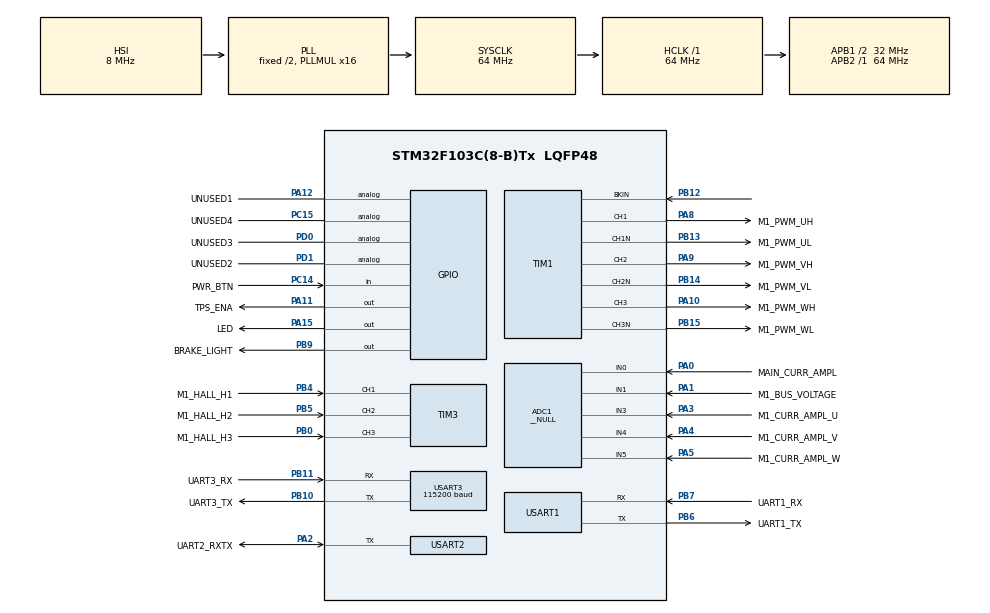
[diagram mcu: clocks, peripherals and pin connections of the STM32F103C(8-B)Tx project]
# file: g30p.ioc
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ADC1.Channel-1\#ChannelInjectedConversion=ADC_CHANNEL_3
ADC1.Channel-1\#ChannelRegularConversion=ADC_CHANNEL_1
ADC1.Channel-2\#ChannelInjectedConversion=ADC_CHANNEL_4
ADC1.Channel-2\#ChannelRegularConversion=ADC_CHANNEL_0
ADC1.Channel-3\#ChannelInjectedConversion=ADC_CHANNEL_5
ADC1.ContinuousConvMode=DISABLE
ADC1.DataAlign=ADC_DATAALIGN_LEFT
ADC1.DiscontinuousConvMode=DISABLE
ADC1.EnableAnalogWatchDog=false
ADC1.EnableInjectedConversion=ENABLE
ADC1.EnableRegularConversion=ENABLE
ADC1.ExternalTrigConv=ADC_SOFTWARE_START
ADC1.ExternalTrigInjecConv=ADC_EXTERNALTRIGINJECCONV_T1_CC4
ADC1.InjNumberOfConversion=3
ADC1.InjectedConvMode=Discontinuous
ADC1.InjectedOffset-1\#ChannelInjectedConversion=0
ADC1.InjectedOffset-2\#ChannelInjectedConversion=0
ADC1.InjectedOffset-3\#ChannelInjectedConversion=0
ADC1.Mode=__NULL
ADC1.NbrOfConversion=2
ADC1.NbrOfConversionFlag=1
ADC1.Rank-1\#ChannelInjectedConversion=1
ADC1.Rank-1\#ChannelRegularConversion=1
ADC1.Rank-2\#ChannelInjectedConversion=2
ADC1.Rank-2\#ChannelRegularConversion=2
ADC1.Rank-3\#ChannelInjectedConversion=3
ADC1.SamplingTime-1\#ChannelInjectedConversion=ADC_SAMPLETIME_1CYCLE_5
ADC1.SamplingTime-1\#ChannelRegularConversion=ADC_SAMPLETIME_1CYCLE_5
ADC1.SamplingTime-2\#ChannelInjectedConversion=ADC_SAMPLETIME_1CYCLE_5
ADC1.SamplingTime-2\#ChannelRegularConversion=ADC_SAMPLETIME_1CYCLE_5
ADC1.SamplingTime-3\#ChannelInjectedConversion=ADC_SAMPLETIME_1CYCLE_5
ADC1.ScanConvMode=ADC_SCAN_ENABLE
ADC1.master=1
ADC2.Channel-1\#ChannelInjectedConversion=ADC_CHANNEL_3
ADC2.Channel-2\#ChannelInjectedConversion=ADC_CHANNEL_4
ADC2.Channel-3\#ChannelInjectedConversion=ADC_CHANNEL_5
ADC2.ContinuousConvMode=DISABLE
ADC2.DataAlign=ADC_DATAALIGN_LEFT
ADC2.DiscontinuousConvMode=DISABLE
ADC2.EnableAnalogWatchDog=false
ADC2.EnableInjectedConversion=ENABLE
ADC2.EnableRegularConversion=DISABLE
ADC2.ExternalTrigInjecConv=ADC_EXTERNALTRIGINJECCONV_T1_CC4
ADC2.InjNumberOfConversion=3
ADC2.InjectedConvMode=Discontinuous
ADC2.InjectedOffset-1\#ChannelInjectedConversion=0
ADC2.InjectedOffset-2\#ChannelInjectedConversion=0
ADC2.InjectedOffset-3\#ChannelInjectedConversion=0
ADC2.Mode=__NULL
ADC2.Rank-1\#ChannelInjectedConversion=1
ADC2.Rank-2\#ChannelInjectedConversion=2
ADC2.Rank-3\#ChannelInjectedConversion=3
ADC2.SamplingTime-1\#ChannelInjectedConversion=ADC_SAMPLETIME_1CYCLE_5
ADC2.SamplingTime-2\#ChannelInjectedConversion=ADC_SAMPLETIME_1CYCLE_5
ADC2.SamplingTime-3\#ChannelInjectedConversion=ADC_SAMPLETIME_1CYCLE_5
ADC2.ScanConvMode=ADC_SCAN_ENABLE
Dma.ADC1.0.Direction=DMA_PERIPH_TO_MEMORY
Dma.ADC1.0.Instance=DMA1_Channel1
Dma.ADC1.0.MemDataAlignment=DMA_MDATAALIGN_HALFWORD
Dma.ADC1.0.MemInc=DMA_MINC_DISABLE
Dma.ADC1.0.Mode=DMA_CIRCULAR
Dma.ADC1.0.PeriphDataAlignment=DMA_PDATAALIGN_HALFWORD
Dma.ADC1.0.PeriphInc=DMA_PINC_DISABLE
Dma.ADC1.0.Priority=DMA_PRIORITY_LOW
Dma.Request0=ADC1
Dma.Request1=USART1_RX
Dma.Request2=USART1_TX
Dma.Request3=USART3_TX
Dma.Request4=USART3_RX
Dma.USART1_RX.1.Direction=DMA_PERIPH_TO_MEMORY
Dma.USART1_RX.1.Instance=DMA1_Channel5
Dma.USART1_RX.1.MemDataAlignment=DMA_MDATAALIGN_BYTE
Dma.USART1_RX.1.MemInc=DMA_MINC_ENABLE
Dma.USART1_RX.1.Mode=DMA_CIRCULAR
Dma.USART1_RX.1.PeriphDataAlignment=DMA_PDATAALIGN_BYTE
Dma.USART1_RX.1.PeriphInc=DMA_PINC_DISABLE
Dma.USART1_RX.1.Priority=DMA_PRIORITY_LOW
Dma.USART1_TX.2.Direction=DMA_MEMORY_TO_PERIPH
Dma.USART1_TX.2.Instance=DMA1_Channel4
Dma.USART1_TX.2.MemDataAlignment=DMA_MDATAALIGN_BYTE
Dma.USART1_TX.2.MemInc=DMA_MINC_ENABLE
Dma.USART1_TX.2.Mode=DMA_NORMAL
Dma.USART1_TX.2.PeriphDataAlignment=DMA_PDATAALIGN_BYTE
Dma.USART1_TX.2.PeriphInc=DMA_PINC_DISABLE
Dma.USART1_TX.2.Priority=DMA_PRIORITY_LOW
Dma.USART3_RX.4.Direction=DMA_PERIPH_TO_MEMORY
Dma.USART3_RX.4.Instance=DMA1_Channel3
Dma.USART3_RX.4.MemDataAlignment=DMA_MDATAALIGN_BYTE
Dma.USART3_RX.4.MemInc=DMA_MINC_ENABLE
Dma.USART3_RX.4.Mode=DMA_CIRCULAR
Dma.USART3_RX.4.PeriphDataAlignment=DMA_PDATAALIGN_BYTE
Dma.USART3_RX.4.PeriphInc=DMA_PINC_DISABLE
Dma.USART3_RX.4.Priority=DMA_PRIORITY_HIGH
Dma.USART3_TX.3.Direction=DMA_MEMORY_TO_PERIPH
Dma.USART3_TX.3.Instance=DMA1_Channel2
Dma.USART3_TX.3.MemDataAlignment=DMA_MDATAALIGN_BYTE
Dma.USART3_TX.3.MemInc=DMA_MINC_ENABLE
Dma.USART3_TX.3.Mode=DMA_NORMAL
Dma.USART3_TX.3.PeriphDataAlignment=DMA_PDATAALIGN_BYTE
Dma.USART3_TX.3.PeriphInc=DMA_PINC_DISABLE
Dma.USART3_TX.3.Priority=DMA_PRIORITY_HIGH
Mcu.Family=STM32F1
Mcu.Name=STM32F103C(8-B)Tx
Mcu.Package=LQFP48
NVIC.ADC1_2_IRQn=true\:2\:0\:true\:true\:false\:1\:true\:true
NVIC.DMA1_Channel1_IRQn=true\:2\:0\:true\:true\:false\:4\:true\:true
NVIC.DMA1_Channel2_IRQn=true\:0\:0\:false\:false\:true\:false\:true
NVIC.DMA1_Channel3_IRQn=true\:0\:0\:false\:false\:true\:false\:true
NVIC.DMA1_Channel4_IRQn=true\:2\:0\:true\:false\:true\:false\:true
NVIC.DMA1_Channel5_IRQn=true\:2\:0\:true\:false\:true\:false\:true
NVIC.PriorityGroup=NVIC_PRIORITYGROUP_4
NVIC.TIM1_BRK_IRQn=true\:4\:0\:true\:true\:false\:3\:true\:true
NVIC.TIM1_UP_IRQn=true\:2\:0\:true\:true\:false\:2\:true\:true
NVIC.TIM3_IRQn=true\:3\:0\:true\:true\:false\:5\:true\:true
NVIC.TIM4_IRQn=true\:15\:0\:false\:false\:true\:false\:true
NVIC.TimeBase=TIM4_IRQn
NVIC.TimeBaseIP=TIM4
NVIC.USART2_IRQn=true\:15\:0\:true\:false\:true\:true\:true
PA0-WKUP.GPIO_Label=MAIN_CURR_AMPL
PA0-WKUP.Signal=ADCx_IN0
PA1.GPIO_Label=M1_BUS_VOLTAGE
PA1.Signal=ADCx_IN1
PA10.GPIO_Label=M1_PWM_WH
PA10.GPIO_PuPd=GPIO_PULLDOWN
PA10.GPIO_Speed=GPIO_SPEED_FREQ_HIGH
PA10.Signal=S_TIM1_CH3
PA11.GPIO_Label=TPS_ENA
PA11.PinState=GPIO_PIN_SET
PA11.Signal=GPIO_Output
PA12.GPIO_Label=UNUSED1
PA12.Signal=GPIO_Analog
PA13.Mode=Serial_Wire
PA13.Signal=SYS_JTMS-SWDIO
PA14.Mode=Serial_Wire
PA14.Signal=SYS_JTCK-SWCLK
PA15.GPIO_Label=LED
PA15.Signal=GPIO_Output
PA2.GPIO_Label=UART2_RXTX
PA2.GPIO_Speed=GPIO_SPEED_FREQ_HIGH
PA2.Mode=Half_duplex(single_wire_mode)
PA2.Signal=USART2_TX
PA3.GPIO_Label=M1_CURR_AMPL_U
PA3.Signal=SharedAnalog_PA3
PA4.GPIO_Label=M1_CURR_AMPL_V
PA4.Signal=SharedAnalog_PA4
PA5.GPIO_Label=M1_CURR_AMPL_W
PA5.Signal=SharedAnalog_PA5
PA8.GPIO_Label=M1_PWM_UH
PA8.GPIO_PuPd=GPIO_PULLDOWN
PA8.GPIO_Speed=GPIO_SPEED_FREQ_HIGH
PA8.Signal=S_TIM1_CH1
PA9.GPIO_Label=M1_PWM_VH
PA9.GPIO_PuPd=GPIO_PULLDOWN
PA9.GPIO_Speed=GPIO_SPEED_FREQ_HIGH
PA9.Signal=S_TIM1_CH2
PB0.GPIO_Label=M1_HALL_H3
PB0.GPIO_Speed=GPIO_SPEED_FREQ_HIGH
PB0.Signal=S_TIM3_CH3
PB10.GPIO_Label=UART3_TX
PB10.GPIO_Mode=GPIO_MODE_AF_PP
PB10.GPIO_PuPd=GPIO_NOPULL
PB10.GPIO_Speed=GPIO_SPEED_FREQ_LOW
PB10.Mode=Asynchronous
PB10.Signal=USART3_TX
PB11.GPIO_Label=UART3_RX
PB11.GPIO_Mode=GPIO_MODE_INPUT
PB11.GPIO_PuPd=GPIO_NOPULL
PB11.GPIO_Speed=GPIO_SPEED_FREQ_LOW
PB11.Mode=Asynchronous
PB11.Signal=USART3_RX
PB12.Mode=Activate-Break-Input
PB12.Signal=TIM1_BKIN
PB13.GPIO_Label=M1_PWM_UL
PB13.GPIO_PuPd=GPIO_PULLDOWN
PB13.GPIO_Speed=GPIO_SPEED_FREQ_HIGH
PB13.Mode=PWM Generation1 CH1 CH1N
PB13.Signal=TIM1_CH1N
PB14.GPIO_Label=M1_PWM_VL
PB14.GPIO_PuPd=GPIO_PULLDOWN
PB14.GPIO_Speed=GPIO_SPEED_FREQ_HIGH
PB14.Mode=PWM Generation2 CH2 CH2N
PB14.Signal=TIM1_CH2N
PB15.GPIO_Label=M1_PWM_WL
PB15.GPIO_PuPd=GPIO_PULLDOWN
PB15.GPIO_Speed=GPIO_SPEED_FREQ_HIGH
PB15.Mode=PWM Generation3 CH3 CH3N
PB15.Signal=TIM1_CH3N
PB2.Signal=EVENTOUT
PB4.GPIO_Label=M1_HALL_H1
PB4.GPIO_Speed=GPIO_SPEED_FREQ_HIGH
PB4.Signal=S_TIM3_CH1
PB5.GPIO_Label=M1_HALL_H2
PB5.GPIO_Speed=GPIO_SPEED_FREQ_HIGH
PB5.Signal=S_TIM3_CH2
PB6.GPIO_Label=UART1_TX
PB6.GPIO_Speed=GPIO_SPEED_FREQ_LOW
PB6.Mode=Asynchronous
PB6.Signal=USART1_TX
PB7.GPIO_Label=UART1_RX
PB7.Mode=Asynchronous
PB7.Signal=USART1_RX
PB9.GPIO_Label=BRAKE_LIGHT
PB9.GPIO_ModeDefaultOutputPP=GPIO_MODE_OUTPUT_OD
PB9.GPIO_PuPd=GPIO_PULLDOWN
PB9.Signal=GPIO_Output
PC14-OSC32_IN.GPIO_Label=PWR_BTN
PC14-OSC32_IN.Signal=GPIO_Input
PC15-OSC32_OUT.GPIO_Label=UNUSED4
PC15-OSC32_OUT.Signal=GPIO_Analog
PD0-OSC_IN.GPIO_Label=UNUSED3
PD0-OSC_IN.Signal=GPIO_Analog
PD1-OSC_OUT.GPIO_Label=UNUSED2
PD1-OSC_OUT.Signal=GPIO_Analog
ProjectManager.HeapSize=0x200
ProjectManager.StackSize=0x400
ProjectManager.TargetToolchain=STM32CubeIDE
RCC.ADCPresc=RCC_ADCPCLK2_DIV6
RCC.AHBFreq_Value=64000000
RCC.APB1CLKDivider=RCC_HCLK_DIV2
RCC.APB1Freq_Value=32000000
RCC.APB1TimFreq_Value=64000000
RCC.APB2Freq_Value=64000000
RCC.APB2TimFreq_Value=64000000
RCC.EnbaleCSS=true
RCC.HCLKFreq_Value=64000000
RCC.PLLMUL=RCC_PLL_MUL16
RCC.RTCClockSelection=RCC_RTCCLKSOURCE_LSI
RCC.SYSCLKFreq_VALUE=64000000
RCC.SYSCLKSource=RCC_SYSCLKSOURCE_PLLCLK
RCC.USBFreq_Value=64000000
SH.ADCx_IN0.0=ADC1_IN0,IN0
SH.ADCx_IN1.0=ADC1_IN1,IN1
SH.S_TIM1_CH1.0=TIM1_CH1,PWM Generation1 CH1 CH1N
SH.S_TIM1_CH2.0=TIM1_CH2,PWM Generation2 CH2 CH2N
SH.S_TIM1_CH3.0=TIM1_CH3,PWM Generation3 CH3 CH3N
SH.S_TIM3_CH1.0=TIM3_CH1,Xored_Inputs_Hall_Sensor_Interface
SH.S_TIM3_CH2.0=TIM3_CH2,Xored_Inputs_Hall_Sensor_Interface
SH.S_TIM3_CH3.0=TIM3_CH3,Xored_Inputs_Hall_Sensor_Interface
SH.SharedAnalog_PA3.0=ADC1_IN3,IN3
SH.SharedAnalog_PA3.1=ADC2_IN3,IN3
SH.SharedAnalog_PA4.0=ADC1_IN4,IN4
SH.SharedAnalog_PA4.1=ADC2_IN4,IN4
SH.SharedAnalog_PA5.0=ADC1_IN5,IN5
SH.SharedAnalog_PA5.1=ADC2_IN5,IN5
TIM1.AutomaticOutput=TIM_AUTOMATICOUTPUT_DISABLE
TIM1.BreakPolarity=TIM_BREAKPOLARITY_LOW
TIM1.BreakState=TIM_BREAK_DISABLE
TIM1.Channel-PWM\ Generation1\ CH1\ CH1N=TIM_CHANNEL_1
TIM1.Channel-PWM\ Generation2\ CH2\ CH2N=TIM_CHANNEL_2
TIM1.Channel-PWM\ Generation3\ CH3\ CH3N=TIM_CHANNEL_3
TIM1.Channel-PWM\ Generation4\ No\ Output=TIM_CHANNEL_4
TIM1.ClockDivision=TIM_CLOCKDIVISION_DIV2
TIM1.CounterMode=TIM_COUNTERMODE_CENTERALIGNED1
TIM1.DeadTime=((DEAD_TIME_COUNTS) / 2)
TIM1.LockLevel=TIM_LOCKLEVEL_1
TIM1.OCIdleState_1=TIM_OCIDLESTATE_RESET
TIM1.OCIdleState_2=TIM_OCIDLESTATE_RESET
TIM1.OCIdleState_3=TIM_OCIDLESTATE_RESET
TIM1.OCMode_PWM-PWM\ Generation4\ No\ Output=TIM_OCMODE_PWM2
TIM1.OCNIdleState_1=TIM_OCNIDLESTATE_RESET
TIM1.OCNIdleState_2=TIM_OCNIDLESTATE_RESET
TIM1.OCNIdleState_3=TIM_OCNIDLESTATE_RESET
TIM1.OCNPolarity_1=TIM_OCNPOLARITY_HIGH
TIM1.OCNPolarity_2=TIM_OCNPOLARITY_HIGH
TIM1.OCNPolarity_3=TIM_OCNPOLARITY_HIGH
TIM1.OCPolarity_1=TIM_OCPOLARITY_HIGH
TIM1.OCPolarity_2=TIM_OCPOLARITY_HIGH
TIM1.OCPolarity_3=TIM_OCPOLARITY_HIGH
TIM1.OffStateIDLEMode=TIM_OSSI_ENABLE
TIM1.OffStateRunMode=TIM_OSSR_ENABLE
TIM1.Period=((PWM_PERIOD_CYCLES) / 2)
TIM1.Prescaler=((TIM_CLOCK_DIVIDER) - 1)
TIM1.Pulse-PWM\ Generation4\ No\ Output=(((PWM_PERIOD_CYCLES) / 2) - (HTMIN))
TIM1.RepetitionCounter=(REP_COUNTER)
TIM1.TIM_MasterOutputTrigger=TIM_TRGO_RESET
TIM1.TIM_MasterSlaveMode=TIM_MASTERSLAVEMODE_DISABLE
TIM3.IC1Filter=M1_HALL_IC_FILTER
TIM3.Period=M1_HALL_TIM_PERIOD
USART1.VirtualMode=VM_ASYNC
USART2.VirtualMode=VM_ASYNC
USART3.BaudRate=115200
USART3.VirtualMode=VM_ASYNC
USART3.VirtualMode-Asynchronous=VM_ASYNC
USART3.WordLength=WORDLENGTH_8B
VP_CRC_VS_CRC.Mode=CRC_Activate
VP_SYS_VS_tim4.Mode=TIM4
VP_TIM1_VS_ClockSourceITR.Mode=TriggerSource_ITR1
VP_TIM1_VS_ControllerModeTrigger.Mode=Trigger Mode
VP_TIM1_VS_no_output4.Mode=PWM Generation4 No Output
VP_TIM3_VS_ClockSourceINT.Mode=Internal
board=custom

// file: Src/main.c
/* USER CODE BEGIN Header */
/**
  ******************************************************************************
  * @file           : main.c
  * @brief          : Main program body
  ******************************************************************************
  * @attention
  *
  * <h2><center>&copy; Copyright (c) 2021 STMicroelectronics.
  * All rights reserved.</center></h2>
  *
  * This software component is licensed by ST under Ultimate Liberty license
  * SLA0044, the "License"; You may not use this file except in compliance with
  * the License. You may obtain a copy of the License at:
  *                             www.st.com/SLA0044
  *
  ******************************************************************************
  */
/* USER CODE END Header */
#include "main.h"

/* USER CODE BEGIN Includes */

#include "FreeRTOS.h"
#include "task.h"
#include "task_init.h"
#include "motorcontrol.h"
#include "conf_general.h"
#include "app.h"

/* USER CODE END Includes */

ADC_HandleTypeDef hadc1;
ADC_HandleTypeDef hadc2;
DMA_HandleTypeDef hdma_adc1;

CRC_HandleTypeDef hcrc;

TIM_HandleTypeDef htim1;
TIM_HandleTypeDef htim3;

UART_HandleTypeDef huart1;
UART_HandleTypeDef huart2;
UART_HandleTypeDef huart3;
DMA_HandleTypeDef hdma_usart1_rx;
DMA_HandleTypeDef hdma_usart1_tx;
DMA_HandleTypeDef hdma_usart3_tx;
DMA_HandleTypeDef hdma_usart3_rx;

void SystemClock_Config(void);
static void MX_GPIO_Init(void);
static void MX_DMA_Init(void);
static void MX_ADC1_Init(void);
static void MX_ADC2_Init(void);
static void MX_TIM1_Init(void);
static void MX_TIM3_Init(void);
static void MX_USART3_UART_Init(void);
static void MX_USART1_UART_Init(void);
static void MX_USART2_UART_Init(void);
static void MX_CRC_Init(void);
static void MX_NVIC_Init(void);
/* USER CODE BEGIN PFP */
void startMediumFrequencyTask(void *argument);
extern void StartSafetyTask(void *argument);
/* USER CODE END PFP */

int main(void)
{

  /* MCU Configuration--------------------------------------------------------*/

  /* Reset of all peripherals, Initializes the Flash interface and the Systick. */
  HAL_Init();

  /* Configure the system clock */
  SystemClock_Config();

  /* Initialize all configured peripherals */
  MX_GPIO_Init();
  MX_DMA_Init();
  MX_ADC1_Init();
  MX_ADC2_Init();
  MX_TIM1_Init();
  MX_TIM3_Init();
  MX_USART3_UART_Init();
  MX_USART1_UART_Init();
  MX_USART2_UART_Init();
  MX_CRC_Init();

  /* Initialize interrupts */
  MX_NVIC_Init();
  /* USER CODE BEGIN 2 */

  HAL_ADCEx_Calibration_Start(&hadc1);
  HAL_ADCEx_Calibration_Start(&hadc2);

  MX_MotorControl_Init();
  HAL_Delay(100);

  conf_general_init();
  //osKernelInitialize();

  /* USER CODE BEGIN RTOS_MUTEX */
  /* USER CODE END RTOS_MUTEX */

  /* USER CODE BEGIN RTOS_SEMAPHORES */
  /* add semaphores, ... */
  /* USER CODE END RTOS_SEMAPHORES */

  /* USER CODE BEGIN RTOS_TIMERS */
  /* start timers, add new ones, ... */
  /* USER CODE END RTOS_TIMERS */

  /* USER CODE BEGIN RTOS_QUEUES */
  /* add queues, ... */
  /* USER CODE END RTOS_QUEUES */

  /* Create the thread(s) */
  /* USER CODE BEGIN RTOS_THREADS */
  /* add threads, ... */
  TaskHandle_t mediumFrequencyHandle;

  TaskHandle_t safetyHandle;

  xTaskCreate(startMediumFrequencyTask, "medTSK", 128, NULL, PRIO_NORMAL, &mediumFrequencyHandle);
  xTaskCreate(StartSafetyTask, "safety", 128, NULL, PRIO_HIGHER, &safetyHandle);

  task_init(); //bring up user tasks

  /* USER CODE END RTOS_THREADS */

  /* USER CODE BEGIN RTOS_EVENTS */
  /* add events, ... */
  /* USER CODE END RTOS_EVENTS */

  /* Start scheduler */
  vTaskStartScheduler();

  /* We should never ge*/

  /* USER CODE END 2 */

  /* Infinite loop */
  /* USER CODE BEGIN WHILE */
  vTaskSwitchContext();
  while (1)
  {
    /* USER CODE END WHILE */

  }
}

void SystemClock_Config(void)
{
  RCC_OscInitTypeDef RCC_OscInitStruct = {0};
  RCC_ClkInitTypeDef RCC_ClkInitStruct = {0};
  RCC_PeriphCLKInitTypeDef PeriphClkInit = {0};

  /** Initializes the RCC Oscillators according to the specified parameters
  * in the RCC_OscInitTypeDef structure.
  */
  RCC_OscInitStruct.OscillatorType = RCC_OSCILLATORTYPE_HSI;
  RCC_OscInitStruct.HSIState = RCC_HSI_ON;
  RCC_OscInitStruct.HSICalibrationValue = RCC_HSICALIBRATION_DEFAULT;
  RCC_OscInitStruct.PLL.PLLState = RCC_PLL_ON;
  RCC_OscInitStruct.PLL.PLLSource = RCC_PLLSOURCE_HSI_DIV2;
  RCC_OscInitStruct.PLL.PLLMUL = RCC_PLL_MUL16;
  if (HAL_RCC_OscConfig(&RCC_OscInitStruct) != HAL_OK)
  {
    Error_Handler();
  }
  /** Initializes the CPU, AHB and APB buses clocks
  */
  RCC_ClkInitStruct.ClockType = RCC_CLOCKTYPE_HCLK|RCC_CLOCKTYPE_SYSCLK
                              |RCC_CLOCKTYPE_PCLK1|RCC_CLOCKTYPE_PCLK2;
  RCC_ClkInitStruct.SYSCLKSource = RCC_SYSCLKSOURCE_PLLCLK;
  RCC_ClkInitStruct.AHBCLKDivider = RCC_SYSCLK_DIV1;
  RCC_ClkInitStruct.APB1CLKDivider = RCC_HCLK_DIV2;
  RCC_ClkInitStruct.APB2CLKDivider = RCC_HCLK_DIV1;

  if (HAL_RCC_ClockConfig(&RCC_ClkInitStruct, FLASH_LATENCY_2) != HAL_OK)
  {
    Error_Handler();
  }
  PeriphClkInit.PeriphClockSelection = RCC_PERIPHCLK_ADC;
  PeriphClkInit.AdcClockSelection = RCC_ADCPCLK2_DIV6;
  if (HAL_RCCEx_PeriphCLKConfig(&PeriphClkInit) != HAL_OK)
  {
    Error_Handler();
  }
  /** Enables the Clock Security System
  */
  HAL_RCC_EnableCSS();
}

/**
  * @brief NVIC Configuration.
  * @retval None
  */
static void MX_NVIC_Init(void)
{
  /* ADC1_2_IRQn interrupt configuration */
  HAL_NVIC_SetPriority(ADC1_2_IRQn, 2, 0);
  HAL_NVIC_EnableIRQ(ADC1_2_IRQn);
  /* TIM1_UP_IRQn interrupt configuration */
  HAL_NVIC_SetPriority(TIM1_UP_IRQn, 2, 0);
  HAL_NVIC_EnableIRQ(TIM1_UP_IRQn);
  /* TIM1_BRK_IRQn interrupt configuration */
  HAL_NVIC_SetPriority(TIM1_BRK_IRQn, 4, 0);
  HAL_NVIC_EnableIRQ(TIM1_BRK_IRQn);
  /* DMA1_Channel1_IRQn interrupt configuration */
  HAL_NVIC_SetPriority(DMA1_Channel1_IRQn, 2, 0);
  HAL_NVIC_EnableIRQ(DMA1_Channel1_IRQn);
  /* TIM3_IRQn interrupt configuration */
  HAL_NVIC_SetPriority(TIM3_IRQn, 3, 0);
  HAL_NVIC_EnableIRQ(TIM3_IRQn);
}

static void MX_ADC1_Init(void)
{

  ADC_InjectionConfTypeDef sConfigInjected = {0};
  ADC_ChannelConfTypeDef sConfig = {0};

  /** Common config
  */
  hadc1.Instance = ADC1;
  hadc1.Init.ScanConvMode = ADC_SCAN_ENABLE;
  hadc1.Init.ContinuousConvMode = DISABLE;
  hadc1.Init.DiscontinuousConvMode = DISABLE;
  hadc1.Init.ExternalTrigConv = ADC_SOFTWARE_START;
  hadc1.Init.DataAlign = ADC_DATAALIGN_LEFT;
  hadc1.Init.NbrOfConversion = 2;
  if (HAL_ADC_Init(&hadc1) != HAL_OK)
  {
    Error_Handler();
  }
  /** Configure Injected Channel
  */
  sConfigInjected.InjectedChannel = ADC_CHANNEL_3;
  sConfigInjected.InjectedRank = ADC_INJECTED_RANK_1;
  sConfigInjected.InjectedNbrOfConversion = 3;
  sConfigInjected.InjectedSamplingTime = ADC_SAMPLETIME_1CYCLE_5;
  sConfigInjected.ExternalTrigInjecConv = ADC_EXTERNALTRIGINJECCONV_T1_CC4;
  sConfigInjected.AutoInjectedConv = DISABLE;
  sConfigInjected.InjectedDiscontinuousConvMode = ENABLE;
  sConfigInjected.InjectedOffset = 0;
  if (HAL_ADCEx_InjectedConfigChannel(&hadc1, &sConfigInjected) != HAL_OK)
  {
    Error_Handler();
  }
  /** Configure Injected Channel
  */
  sConfigInjected.InjectedChannel = ADC_CHANNEL_4;
  sConfigInjected.InjectedRank = ADC_INJECTED_RANK_2;
  if (HAL_ADCEx_InjectedConfigChannel(&hadc1, &sConfigInjected) != HAL_OK)
  {
    Error_Handler();
  }
  /** Configure Injected Channel
  */
  sConfigInjected.InjectedChannel = ADC_CHANNEL_5;
  sConfigInjected.InjectedRank = ADC_INJECTED_RANK_3;
  if (HAL_ADCEx_InjectedConfigChannel(&hadc1, &sConfigInjected) != HAL_OK)
  {
    Error_Handler();
  }
  /** Configure Regular Channel
  */
  sConfig.Channel = ADC_CHANNEL_1;
  sConfig.Rank = ADC_REGULAR_RANK_1;
  sConfig.SamplingTime = ADC_SAMPLETIME_1CYCLE_5;
  if (HAL_ADC_ConfigChannel(&hadc1, &sConfig) != HAL_OK)
  {
    Error_Handler();
  }
  /** Configure Regular Channel
  */
  sConfig.Channel = ADC_CHANNEL_0;
  sConfig.Rank = ADC_REGULAR_RANK_2;
  if (HAL_ADC_ConfigChannel(&hadc1, &sConfig) != HAL_OK)
  {
    Error_Handler();
  }

}

static void MX_ADC2_Init(void)
{

  ADC_InjectionConfTypeDef sConfigInjected = {0};

  /** Common config
  */
  hadc2.Instance = ADC2;
  hadc2.Init.ScanConvMode = ADC_SCAN_ENABLE;
  hadc2.Init.ContinuousConvMode = DISABLE;
  hadc2.Init.DiscontinuousConvMode = DISABLE;
  hadc2.Init.ExternalTrigConv = ADC_SOFTWARE_START;
  hadc2.Init.DataAlign = ADC_DATAALIGN_LEFT;
  hadc2.Init.NbrOfConversion = 1;
  if (HAL_ADC_Init(&hadc2) != HAL_OK)
  {
    Error_Handler();
  }
  /** Configure Injected Channel
  */
  sConfigInjected.InjectedChannel = ADC_CHANNEL_3;
  sConfigInjected.InjectedRank = 1;
  sConfigInjected.InjectedNbrOfConversion = 3;
  sConfigInjected.InjectedSamplingTime = ADC_SAMPLETIME_1CYCLE_5;
  sConfigInjected.ExternalTrigInjecConv = ADC_EXTERNALTRIGINJECCONV_T1_CC4;
  sConfigInjected.AutoInjectedConv = DISABLE;
  sConfigInjected.InjectedDiscontinuousConvMode = ENABLE;
  sConfigInjected.InjectedOffset = 0;
  if (HAL_ADCEx_InjectedConfigChannel(&hadc2, &sConfigInjected) != HAL_OK)
  {
    Error_Handler();
  }
  /** Configure Injected Channel
  */
  sConfigInjected.InjectedChannel = ADC_CHANNEL_4;
  sConfigInjected.InjectedRank = 2;
  if (HAL_ADCEx_InjectedConfigChannel(&hadc2, &sConfigInjected) != HAL_OK)
  {
    Error_Handler();
  }
  /** Configure Injected Channel
  */
  sConfigInjected.InjectedChannel = ADC_CHANNEL_5;
  sConfigInjected.InjectedRank = 3;
  if (HAL_ADCEx_InjectedConfigChannel(&hadc2, &sConfigInjected) != HAL_OK)
  {
    Error_Handler();
  }

}

static void MX_CRC_Init(void)
{

  hcrc.Instance = CRC;
  if (HAL_CRC_Init(&hcrc) != HAL_OK)
  {
    Error_Handler();
  }

}

static void MX_TIM1_Init(void)
{

  TIM_SlaveConfigTypeDef sSlaveConfig = {0};
  TIM_MasterConfigTypeDef sMasterConfig = {0};
  TIM_OC_InitTypeDef sConfigOC = {0};
  TIM_BreakDeadTimeConfigTypeDef sBreakDeadTimeConfig = {0};

  htim1.Instance = TIM1;
  htim1.Init.Prescaler = ((TIM_CLOCK_DIVIDER) - 1);
  htim1.Init.CounterMode = TIM_COUNTERMODE_CENTERALIGNED1;
  htim1.Init.Period = ((PWM_PERIOD_CYCLES) / 2);
  htim1.Init.ClockDivision = TIM_CLOCKDIVISION_DIV2;
  htim1.Init.RepetitionCounter = (REP_COUNTER);
  htim1.Init.AutoReloadPreload = TIM_AUTORELOAD_PRELOAD_DISABLE;
  if (HAL_TIM_Base_Init(&htim1) != HAL_OK)
  {
    Error_Handler();
  }
  if (HAL_TIM_PWM_Init(&htim1) != HAL_OK)
  {
    Error_Handler();
  }
  sSlaveConfig.SlaveMode = TIM_SLAVEMODE_TRIGGER;
  sSlaveConfig.InputTrigger = TIM_TS_ITR1;
  if (HAL_TIM_SlaveConfigSynchro(&htim1, &sSlaveConfig) != HAL_OK)
  {
    Error_Handler();
  }
  sMasterConfig.MasterOutputTrigger = TIM_TRGO_RESET;
  sMasterConfig.MasterSlaveMode = TIM_MASTERSLAVEMODE_DISABLE;
  if (HAL_TIMEx_MasterConfigSynchronization(&htim1, &sMasterConfig) != HAL_OK)
  {
    Error_Handler();
  }
  sConfigOC.OCMode = TIM_OCMODE_PWM1;
  sConfigOC.Pulse = 0;
  sConfigOC.OCPolarity = TIM_OCPOLARITY_HIGH;
  sConfigOC.OCNPolarity = TIM_OCNPOLARITY_HIGH;
  sConfigOC.OCFastMode = TIM_OCFAST_DISABLE;
  sConfigOC.OCIdleState = TIM_OCIDLESTATE_RESET;
  sConfigOC.OCNIdleState = TIM_OCNIDLESTATE_RESET;
  if (HAL_TIM_PWM_ConfigChannel(&htim1, &sConfigOC, TIM_CHANNEL_1) != HAL_OK)
  {
    Error_Handler();
  }
  if (HAL_TIM_PWM_ConfigChannel(&htim1, &sConfigOC, TIM_CHANNEL_2) != HAL_OK)
  {
    Error_Handler();
  }
  if (HAL_TIM_PWM_ConfigChannel(&htim1, &sConfigOC, TIM_CHANNEL_3) != HAL_OK)
  {
    Error_Handler();
  }
  sConfigOC.OCMode = TIM_OCMODE_PWM2;
  sConfigOC.Pulse = (((PWM_PERIOD_CYCLES) / 2) - (HTMIN));
  if (HAL_TIM_PWM_ConfigChannel(&htim1, &sConfigOC, TIM_CHANNEL_4) != HAL_OK)
  {
    Error_Handler();
  }
  sBreakDeadTimeConfig.OffStateRunMode = TIM_OSSR_ENABLE;
  sBreakDeadTimeConfig.OffStateIDLEMode = TIM_OSSI_ENABLE;
  sBreakDeadTimeConfig.LockLevel = TIM_LOCKLEVEL_1;
  sBreakDeadTimeConfig.DeadTime = ((DEAD_TIME_COUNTS) / 2);
  sBreakDeadTimeConfig.BreakState = TIM_BREAK_DISABLE;
  sBreakDeadTimeConfig.BreakPolarity = TIM_BREAKPOLARITY_LOW;
  sBreakDeadTimeConfig.AutomaticOutput = TIM_AUTOMATICOUTPUT_DISABLE;
  if (HAL_TIMEx_ConfigBreakDeadTime(&htim1, &sBreakDeadTimeConfig) != HAL_OK)
  {
    Error_Handler();
  }
  HAL_TIM_MspPostInit(&htim1);

}

static void MX_TIM3_Init(void)
{

  TIM_ClockConfigTypeDef sClockSourceConfig = {0};
  TIM_HallSensor_InitTypeDef sConfig = {0};
  TIM_MasterConfigTypeDef sMasterConfig = {0};

  htim3.Instance = TIM3;
  htim3.Init.Prescaler = 0;
  htim3.Init.CounterMode = TIM_COUNTERMODE_UP;
  htim3.Init.Period = M1_HALL_TIM_PERIOD;
  htim3.Init.ClockDivision = TIM_CLOCKDIVISION_DIV1;
  htim3.Init.AutoReloadPreload = TIM_AUTORELOAD_PRELOAD_DISABLE;
  if (HAL_TIM_Base_Init(&htim3) != HAL_OK)
  {
    Error_Handler();
  }
  sClockSourceConfig.ClockSource = TIM_CLOCKSOURCE_INTERNAL;
  if (HAL_TIM_ConfigClockSource(&htim3, &sClockSourceConfig) != HAL_OK)
  {
    Error_Handler();
  }
  sConfig.IC1Polarity = TIM_ICPOLARITY_RISING;
  sConfig.IC1Prescaler = TIM_ICPSC_DIV1;
  sConfig.IC1Filter = M1_HALL_IC_FILTER;
  sConfig.Commutation_Delay = 0;
  if (HAL_TIMEx_HallSensor_Init(&htim3, &sConfig) != HAL_OK)
  {
    Error_Handler();
  }
  sMasterConfig.MasterOutputTrigger = TIM_TRGO_OC2REF;
  sMasterConfig.MasterSlaveMode = TIM_MASTERSLAVEMODE_DISABLE;
  if (HAL_TIMEx_MasterConfigSynchronization(&htim3, &sMasterConfig) != HAL_OK)
  {
    Error_Handler();
  }

}

static void MX_USART1_UART_Init(void)
{

  huart1.Instance = USART1;
  huart1.Init.BaudRate = 115200;
  huart1.Init.WordLength = UART_WORDLENGTH_8B;
  huart1.Init.StopBits = UART_STOPBITS_1;
  huart1.Init.Parity = UART_PARITY_NONE;
  huart1.Init.Mode = UART_MODE_TX_RX;
  huart1.Init.HwFlowCtl = UART_HWCONTROL_NONE;
  huart1.Init.OverSampling = UART_OVERSAMPLING_16;
  if (HAL_UART_Init(&huart1) != HAL_OK)
  {
    Error_Handler();
  }

}

static void MX_USART2_UART_Init(void)
{

  huart2.Instance = USART2;
  huart2.Init.BaudRate = 115200;
  huart2.Init.WordLength = UART_WORDLENGTH_8B;
  huart2.Init.StopBits = UART_STOPBITS_1;
  huart2.Init.Parity = UART_PARITY_NONE;
  huart2.Init.Mode = UART_MODE_TX_RX;
  huart2.Init.HwFlowCtl = UART_HWCONTROL_NONE;
  huart2.Init.OverSampling = UART_OVERSAMPLING_16;
  if (HAL_HalfDuplex_Init(&huart2) != HAL_OK)
  {
    Error_Handler();
  }
  /* USER CODE BEGIN USART2_Init 2 */
  __HAL_UART_ENABLE_IT(&huart2, UART_IT_RXNE);  // enable receive intterupts
  __HAL_UART_ENABLE_IT(&huart2, UART_IT_IDLE);  // enable idle line detection
  /* USER CODE END USART2_Init 2 */

}

static void MX_USART3_UART_Init(void)
{

  huart3.Instance = USART3;
  huart3.Init.BaudRate = 115200;
  huart3.Init.WordLength = UART_WORDLENGTH_8B;
  huart3.Init.StopBits = UART_STOPBITS_1;
  huart3.Init.Parity = UART_PARITY_NONE;
  huart3.Init.Mode = UART_MODE_TX_RX;
  huart3.Init.HwFlowCtl = UART_HWCONTROL_NONE;
  huart3.Init.OverSampling = UART_OVERSAMPLING_16;
  if (HAL_UART_Init(&huart3) != HAL_OK)
  {
    Error_Handler();
  }

}

static void MX_DMA_Init(void)
{

  /* DMA controller clock enable */
  __HAL_RCC_DMA1_CLK_ENABLE();

  /* DMA interrupt init */
  /* DMA1_Channel2_IRQn interrupt configuration */
  HAL_NVIC_SetPriority(DMA1_Channel2_IRQn, 0, 0);
  HAL_NVIC_EnableIRQ(DMA1_Channel2_IRQn);
  /* DMA1_Channel3_IRQn interrupt configuration */
  HAL_NVIC_SetPriority(DMA1_Channel3_IRQn, 0, 0);
  HAL_NVIC_EnableIRQ(DMA1_Channel3_IRQn);
  /* DMA1_Channel4_IRQn interrupt configuration */
  HAL_NVIC_SetPriority(DMA1_Channel4_IRQn, 2, 0);
  HAL_NVIC_EnableIRQ(DMA1_Channel4_IRQn);
  /* DMA1_Channel5_IRQn interrupt configuration */
  HAL_NVIC_SetPriority(DMA1_Channel5_IRQn, 2, 0);
  HAL_NVIC_EnableIRQ(DMA1_Channel5_IRQn);

}

static void MX_GPIO_Init(void)
{
  GPIO_InitTypeDef GPIO_InitStruct = {0};

  /* GPIO Ports Clock Enable */
  __HAL_RCC_GPIOC_CLK_ENABLE();
  __HAL_RCC_GPIOD_CLK_ENABLE();
  __HAL_RCC_GPIOA_CLK_ENABLE();
  __HAL_RCC_GPIOB_CLK_ENABLE();

  /*Configure GPIO pin Output Level */
  HAL_GPIO_WritePin(TPS_ENA_GPIO_Port, TPS_ENA_Pin, GPIO_PIN_SET);

  /*Configure GPIO pin Output Level */
  HAL_GPIO_WritePin(LED_GPIO_Port, LED_Pin, GPIO_PIN_RESET);

  /*Configure GPIO pin Output Level */
  HAL_GPIO_WritePin(BRAKE_LIGHT_GPIO_Port, BRAKE_LIGHT_Pin, GPIO_PIN_RESET);

  /*Configure GPIO pin : PWR_BTN_Pin */
  GPIO_InitStruct.Pin = PWR_BTN_Pin;
  GPIO_InitStruct.Mode = GPIO_MODE_INPUT;
  GPIO_InitStruct.Pull = GPIO_NOPULL;
  HAL_GPIO_Init(PWR_BTN_GPIO_Port, &GPIO_InitStruct);

  /*Configure GPIO pin : UNUSED4_Pin */
  GPIO_InitStruct.Pin = UNUSED4_Pin;
  GPIO_InitStruct.Mode = GPIO_MODE_ANALOG;
  HAL_GPIO_Init(UNUSED4_GPIO_Port, &GPIO_InitStruct);

  /*Configure GPIO pins : UNUSED3_Pin UNUSED2_Pin */
  GPIO_InitStruct.Pin = UNUSED3_Pin|UNUSED2_Pin;
  GPIO_InitStruct.Mode = GPIO_MODE_ANALOG;
  HAL_GPIO_Init(GPIOD, &GPIO_InitStruct);

  /*Configure GPIO pin : PB2 */
  GPIO_InitStruct.Pin = GPIO_PIN_2;
  GPIO_InitStruct.Mode = GPIO_MODE_AF_PP;
  GPIO_InitStruct.Speed = GPIO_SPEED_FREQ_LOW;
  HAL_GPIO_Init(GPIOB, &GPIO_InitStruct);

  /*Configure GPIO pins : TPS_ENA_Pin LED_Pin */
  GPIO_InitStruct.Pin = TPS_ENA_Pin|LED_Pin;
  GPIO_InitStruct.Mode = GPIO_MODE_OUTPUT_PP;
  GPIO_InitStruct.Pull = GPIO_NOPULL;
  GPIO_InitStruct.Speed = GPIO_SPEED_FREQ_LOW;
  HAL_GPIO_Init(GPIOA, &GPIO_InitStruct);

  /*Configure GPIO pin : UNUSED1_Pin */
  GPIO_InitStruct.Pin = UNUSED1_Pin;
  GPIO_InitStruct.Mode = GPIO_MODE_ANALOG;
  HAL_GPIO_Init(UNUSED1_GPIO_Port, &GPIO_InitStruct);

  /*Configure GPIO pin : BRAKE_LIGHT_Pin */
  GPIO_InitStruct.Pin = BRAKE_LIGHT_Pin;
  GPIO_InitStruct.Mode = GPIO_MODE_OUTPUT_OD;
  GPIO_InitStruct.Pull = GPIO_PULLDOWN;
  GPIO_InitStruct.Speed = GPIO_SPEED_FREQ_LOW;
  HAL_GPIO_Init(BRAKE_LIGHT_GPIO_Port, &GPIO_InitStruct);

  /*Configure peripheral I/O remapping */
  __HAL_AFIO_REMAP_PD01_ENABLE();

  /*Configures the port and pin on which the EVENTOUT Cortex signal will be connected */
  HAL_GPIOEx_ConfigEventout(AFIO_EVENTOUT_PORT_B, AFIO_EVENTOUT_PIN_2);

  /*Enables the Event Output */
  HAL_GPIOEx_EnableEventout();

}

void HAL_TIM_PeriodElapsedCallback(TIM_HandleTypeDef *htim)
{
  if (htim->Instance == TIM4) {
    HAL_IncTick();
  }
}

void Error_Handler(void)
{
  __disable_irq();
  while (1)
  {
  }
}

/************************ (C) COPYRIGHT STMicroelectronics *****END OF FILE****/
